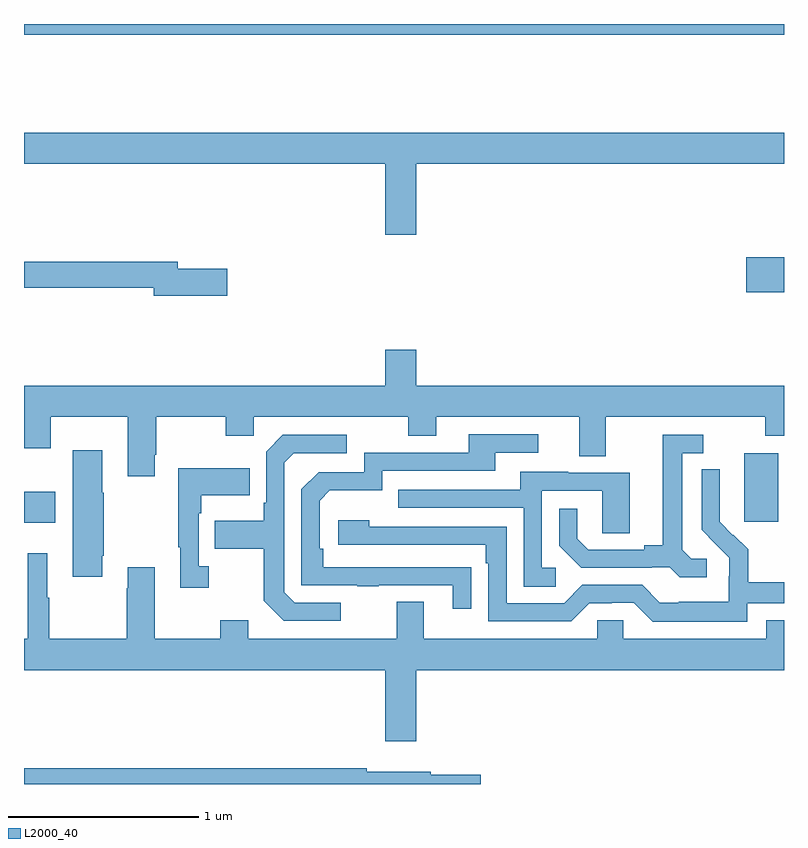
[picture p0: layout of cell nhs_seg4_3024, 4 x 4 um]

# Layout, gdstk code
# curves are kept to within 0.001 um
import gdstk
lib = gdstk.Library(unit=1e-6, precision=1e-09)
def R(c, l, rs):  # rectangles x0, y0, x1, y1
    for r in rs: c.add(gdstk.rectangle(r[:2], r[2:], *l))
def P(c, l, *ps):  # polygons
    for p in ps: c.add(gdstk.Polygon(p, *l))
L2000_40 = (2000, 40)

nhs_seg4_3024 = lib.new_cell('nhs_seg4_3024')
R(nhs_seg4_3024, L2000_40, [(271,784.274,271.165,784.438), (274.79,784.281,274.969,784.642), (274.8,785.489,275,785.672), (271,786.844,275,786.9)])
P(nhs_seg4_3024, L2000_40, [(273.064,786.164),(275,786.164),(275,786.328),(271,786.328),(271,786.164),(272.9,786.164),(272.9,785.79),(273.064,785.79)],
  [(272.071,785.612),(271.81,785.612),(271.81,785.648),(271,785.648),(271,785.512),(271.682,785.512),(271.682,785.47),(272.071,785.47)],
  [(271.687,784.633),(271.695,784.633),(271.695,784.832),(272.062,784.832),(272.062,784.733),(272.208,784.733),(272.208,784.832),(273.022,784.832),(273.022,784.733),(273.169,784.733),(273.169,784.832),(273.923,784.832),(273.923,784.624),(274.063,784.624),(274.063,784.832),(274.9,784.832),(274.9,784.733),(275,784.733),(275,784.996),(273.064,784.996),(273.064,785.185),(272.9,785.185),(272.9,784.996),(271,784.996),(271,784.832),(271.001,784.832),(271.001,784.668),(271.141,784.668),(271.141,784.832),(271.547,784.832),(271.547,784.521),(271.687,784.521)],
  [(273.353,784.04),(272.576,784.041),(272.576,784.138),(272.556,784.138),(272.556,784.392),(272.609,784.445),(272.886,784.445),(272.886,784.548),(273.481,784.548),(273.481,784.644),(273.706,784.644),(273.706,784.74),(273.341,784.74),(273.341,784.644),(272.79,784.644),(272.79,784.542),(272.55,784.542),(272.46,784.452),(272.46,783.945),(272.755,783.945),(272.755,783.94),(272.867,783.94),(272.867,783.945),(273.257,783.945),(273.257,783.822),(273.353,783.822)],
  [(272.668,783.855),(272.424,783.855),(272.37,783.909),(272.37,784.59),(272.421,784.641),(272.698,784.641),(272.698,784.737),(272.361,784.737),(272.274,784.65),(272.274,784.381),(272.262,784.381),(272.262,784.285),(272.005,784.285),(272.005,784.138),(272.262,784.138),(272.262,783.865),(272.367,783.759),(272.668,783.759)],
  [(274.594,784.086),(274.512,784.086),(274.465,784.133),(274.465,784.641),(274.576,784.641),(274.576,784.737),(274.361,784.737),(274.361,784.157),(274.265,784.157),(274.265,784.134),(273.97,784.134),(273.913,784.191),(273.913,784.348),(273.816,784.348),(273.816,784.154),(273.932,784.038),(274.304,784.038),(274.304,784.041),(274.398,784.041),(274.45,783.989),(274.594,783.989)],
  [(271.411,784.102),(271.419,784.102),(271.419,784.433),(271.411,784.433),(271.411,784.657),(271.256,784.657),(271.256,783.99),(271.411,783.99)],
  [(271.972,784.046),(271.92,784.046),(271.92,784.325),(271.933,784.325),(271.933,784.421),(272.189,784.421),(272.189,784.561),(271.812,784.561),(271.812,784.145),(271.823,784.145),(271.823,783.933),(271.972,783.933)],
  [(274.806,783.852),(275,783.852),(275,783.961),(274.811,783.961),(274.811,784.135),(274.734,784.212),(274.731,784.209),(274.661,784.28),(274.662,784.556),(274.566,784.556),(274.566,784.238),(274.712,784.09),(274.712,783.993),(274.71,783.993),(274.71,783.859),(274.447,783.859),(274.447,783.855),(274.347,783.855),(274.254,783.948),(273.939,783.948),(273.843,783.852),(273.54,783.852),(273.54,784.254),(272.816,784.254),(272.816,784.288),(272.655,784.288),(272.655,784.158),(273.431,784.158),(273.431,784.061),(273.444,784.061),(273.444,783.756),(273.879,783.756),(273.975,783.852),(274.094,783.852),(274.094,783.855),(274.209,783.855),(274.309,783.755),(274.806,783.755)],
  [(273.799,784.038),(273.726,784.038),(273.726,784.443),(274.044,784.443),(274.044,784.219),(274.189,784.219),(274.189,784.539),(273.865,784.539),(273.865,784.543),(273.611,784.543),(273.611,784.449),(272.971,784.449),(272.971,784.353),(273.63,784.353),(273.63,783.937),(273.799,783.937)],
  [(273.064,783.5),(275,783.5),(275,783.763),(274.907,783.763),(274.907,783.664),(274.155,783.664),(274.155,783.762),(274.017,783.762),(274.017,783.664),(273.103,783.664),(273.103,783.859),(272.963,783.859),(272.963,783.664),(272.179,783.664),(272.179,783.763),(272.032,783.763),(272.032,783.664),(271.687,783.664),(271.687,784.042),(271.547,784.042),(271.547,783.929),(271.54,783.929),(271.54,783.664),(271.133,783.664),(271.133,783.881),(271.123,783.881),(271.123,784.114),(271.019,784.114),(271.019,783.664),(271,783.664),(271,783.5),(272.9,783.5),(272.9,783.126),(273.064,783.126)],
  [(273.403,782.948),(273.142,782.948),(273.142,782.965),(272.804,782.965),(272.804,782.984),(271,782.984),(271,782.9),(273.403,782.9)])

lib.write_gds('nhs_seg4_3024.gds')
